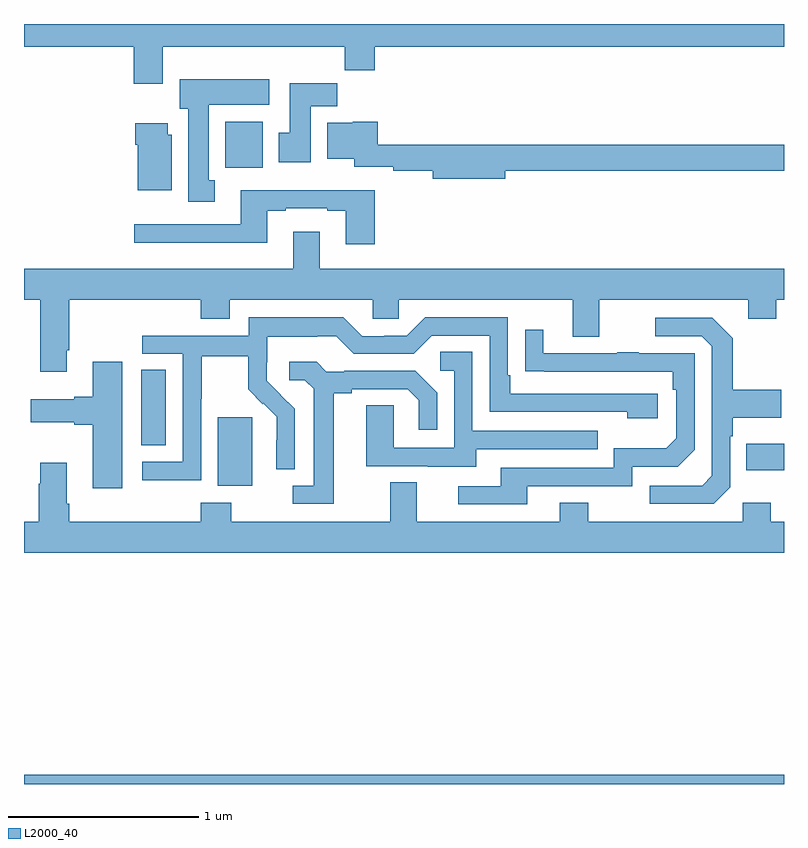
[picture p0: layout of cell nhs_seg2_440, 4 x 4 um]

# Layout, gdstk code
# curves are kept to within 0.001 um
import gdstk
lib = gdstk.Library(unit=1e-6, precision=1e-09)
def R(c, l, rs):  # rectangles x0, y0, x1, y1
    for r in rs: c.add(gdstk.rectangle(r[:2], r[2:], *l))
def P(c, l, *ps):  # polygons
    for p in ps: c.add(gdstk.Polygon(p, *l))
L2000_40 = (2000, 40)

nhs_seg2_440 = lib.new_cell('nhs_seg2_440')
R(nhs_seg2_440, L2000_40, [(133,599.8,137,599.848), (134.021,601.37,134.2,601.731), (136.801,601.451,137,601.591), (133.616,601.582,133.747,601.979), (134.06,603.044,134.257,603.286)])
P(nhs_seg2_440, L2000_40, [(133.729,603.68),(134.689,603.68),(134.689,603.556),(134.846,603.556),(134.846,603.68),(137,603.68),(137,603.8),(133,603.8),(133,603.68),(133.577,603.68),(133.577,603.486),(133.729,603.486)],
  [(134.005,602.978),(133.972,602.978),(133.972,603.374),(134.29,603.374),(134.29,603.508),(133.82,603.508),(133.82,603.354),(133.865,603.354),(133.865,602.865),(134.005,602.865)],
  [(134.509,603.368),(134.648,603.368),(134.648,603.487),(134.399,603.487),(134.399,603.228),(134.342,603.228),(134.342,603.072),(134.509,603.072)],
  [(135.532,603.028),(137,603.028),(137,603.164),(134.861,603.164),(134.861,603.286),(134.73,603.286),(134.73,603.28),(134.597,603.28),(134.597,603.092),(134.738,603.092),(134.738,603.048),(134.944,603.048),(134.944,603.028),(135.152,603.028),(135.152,602.986),(135.532,602.986)],
  [(133.777,603.216),(133.756,603.216),(133.756,603.277),(133.586,603.277),(133.586,603.164),(133.598,603.164),(133.598,602.924),(133.777,602.924)],
  [(134.846,602.926),(134.141,602.926),(134.141,602.745),(133.581,602.745),(133.581,602.648),(134.281,602.648),(134.281,602.817),(134.377,602.817),(134.377,602.829),(134.597,602.829),(134.597,602.817),(134.693,602.817),(134.693,602.64),(134.846,602.64)],
  [(134.557,602.707),(134.417,602.707),(134.417,602.512),(133,602.512),(133,602.348),(133.085,602.348),(133.085,601.971),(133.225,601.971),(133.225,602.083),(133.238,602.083),(133.238,602.348),(133.931,602.348),(133.931,602.249),(134.083,602.249),(134.083,602.348),(134.835,602.348),(134.835,602.25),(134.973,602.25),(134.973,602.348),(135.887,602.348),(135.887,602.154),(136.027,602.154),(136.027,602.348),(136.811,602.348),(136.811,602.249),(136.959,602.249),(136.959,602.348),(137,602.348),(137,602.512),(134.557,602.512)],
  [(133.932,601.828),(133.935,601.828),(133.935,602.052),(134.179,602.052),(134.179,601.877),(134.256,601.8),(134.259,601.803),(134.33,601.733),(134.33,601.61),(134.328,601.61),(134.328,601.456),(134.424,601.456),(134.424,601.774),(134.278,601.922),(134.278,602.019),(134.28,602.019),(134.28,602.153),(134.543,602.153),(134.543,602.157),(134.643,602.157),(134.736,602.064),(135.051,602.064),(135.147,602.16),(135.45,602.16),(135.45,601.758),(136.175,601.758),(136.175,601.724),(136.336,601.724),(136.336,601.854),(135.559,601.854),(135.559,601.951),(135.546,601.951),(135.546,602.256),(135.111,602.256),(135.015,602.16),(134.897,602.16),(134.897,602.157),(134.781,602.157),(134.681,602.257),(134.184,602.257),(134.184,602.16),(133.623,602.16),(133.623,602.064),(133.836,602.064),(133.836,601.497),(133.623,601.497),(133.623,601.399),(133.932,601.399)],
  [(136.716,601.362),(136.716,601.631),(136.729,601.631),(136.729,601.727),(136.985,601.727),(136.985,601.875),(136.729,601.875),(136.729,602.147),(136.623,602.253),(136.323,602.253),(136.323,602.157),(136.566,602.157),(136.62,602.103),(136.62,601.422),(136.569,601.371),(136.293,601.371),(136.293,601.275),(136.629,601.275)],
  [(135.649,601.368),(136.2,601.368),(136.2,601.47),(136.44,601.47),(136.53,601.56),(136.53,602.067),(136.235,602.067),(136.235,602.072),(136.123,602.072),(136.123,602.067),(135.733,602.067),(135.733,602.191),(135.637,602.191),(135.637,601.972),(136.414,601.971),(136.414,601.874),(136.434,601.874),(136.434,601.62),(136.381,601.567),(136.104,601.567),(136.104,601.464),(135.509,601.464),(135.509,601.368),(135.285,601.368),(135.285,601.272),(135.649,601.272)],
  [(135.379,601.563),(136.019,601.563),(136.019,601.659),(135.36,601.659),(135.36,602.075),(135.192,602.075),(135.192,601.974),(135.264,601.974),(135.264,601.569),(134.946,601.569),(134.946,601.793),(134.801,601.793),(134.801,601.473),(135.125,601.473),(135.125,601.469),(135.379,601.469)],
  [(133.516,602.023),(133.361,602.023),(133.361,601.838),(133.265,601.838),(133.265,601.825),(133.035,601.825),(133.035,601.703),(133.265,601.703),(133.265,601.691),(133.361,601.691),(133.361,601.356),(133.516,601.356)],
  [(134.629,601.856),(134.725,601.856),(134.725,601.878),(135.02,601.878),(135.077,601.821),(135.077,601.665),(135.174,601.665),(135.174,601.858),(135.058,601.974),(134.686,601.974),(134.686,601.971),(134.592,601.971),(134.54,602.023),(134.397,602.023),(134.397,601.926),(134.478,601.926),(134.525,601.879),(134.525,601.371),(134.415,601.371),(134.415,601.275),(134.629,601.275)],
  [(137,601.18),(136.929,601.18),(136.929,601.279),(136.782,601.279),(136.782,601.18),(135.969,601.18),(135.969,601.279),(135.821,601.279),(135.821,601.18),(135.067,601.18),(135.067,601.388),(134.927,601.388),(134.927,601.18),(134.091,601.18),(134.091,601.279),(133.931,601.279),(133.931,601.18),(133.238,601.18),(133.238,601.276),(133.225,601.276),(133.225,601.492),(133.085,601.492),(133.085,601.379),(133.078,601.379),(133.078,601.18),(133,601.18),(133,601.016),(137,601.016)])

lib.write_gds('nhs_seg2_440.gds')
